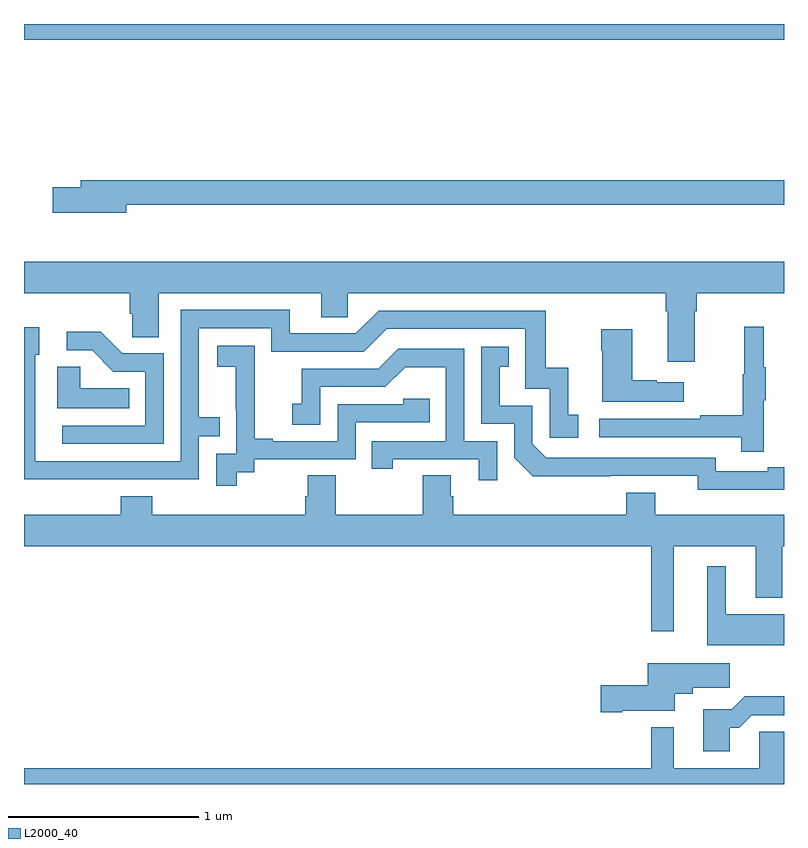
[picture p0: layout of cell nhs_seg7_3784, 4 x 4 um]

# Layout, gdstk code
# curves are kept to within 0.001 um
import gdstk
lib = gdstk.Library(unit=1e-6, precision=1e-09)
def R(c, l, rs):  # rectangles x0, y0, x1, y1
    for r in rs: c.add(gdstk.rectangle(r[:2], r[2:], *l))
def P(c, l, *ps):  # polygons
    for p in ps: c.add(gdstk.Polygon(p, *l))
L2000_40 = (2000, 40)

nhs_seg7_3784 = lib.new_cell('nhs_seg7_3784')
R(nhs_seg7_3784, L2000_40, [(351,1033.916,355,1034)])
P(nhs_seg7_3784, L2000_40, [(351.538,1033.05),(355,1033.05),(355,1033.178),(351.299,1033.178),(351.299,1033.142),(351.15,1033.142),(351.15,1033.007),(351.538,1033.007)],
  [(354.529,1032.488),(354.542,1032.488),(354.542,1032.584),(355,1032.584),(355,1032.748),(351,1032.748),(351,1032.584),(351.557,1032.584),(351.557,1032.475),(351.57,1032.475),(351.57,1032.352),(351.709,1032.352),(351.709,1032.584),(352.565,1032.584),(352.565,1032.457),(352.704,1032.457),(352.704,1032.584),(354.377,1032.584),(354.377,1032.488),(354.389,1032.488),(354.389,1032.222),(354.529,1032.222)],
  [(351.425,1031.604),(351.921,1031.604),(351.921,1031.829),(352.031,1031.829),(352.031,1031.93),(351.921,1031.93),(351.921,1032.399),(352.302,1032.399),(352.302,1032.276),(352.788,1032.276),(352.908,1032.396),(353.637,1032.396),(353.637,1032.081),(353.766,1032.081),(353.766,1031.823),(353.917,1031.823),(353.917,1031.943),(353.864,1031.943),(353.864,1032.19),(353.746,1032.19),(353.746,1032.492),(352.866,1032.492),(352.746,1032.372),(352.399,1032.372),(352.399,1032.495),(351.825,1032.495),(351.825,1031.7),(351.06,1031.7),(351.06,1032.258),(351.079,1032.258),(351.079,1032.403),(351,1032.403),(351,1031.603)],
  [(354.893,1032.019),(354.904,1032.019),(354.904,1032.193),(354.893,1032.193),(354.893,1032.406),(354.79,1032.406),(354.79,1032.156),(354.783,1032.156),(354.783,1031.942),(354.559,1031.942),(354.559,1031.922),(354.027,1031.922),(354.027,1031.826),(354.775,1031.826),(354.775,1031.748),(354.893,1031.748)],
  [(354.472,1032.115),(354.329,1032.115),(354.329,1032.125),(354.202,1032.125),(354.202,1032.394),(354.037,1032.394),(354.037,1032.281),(354.044,1032.281),(354.044,1032.011),(354.472,1032.011)],
  [(351.735,1032.267),(351.516,1032.267),(351.403,1032.38),(351.225,1032.38),(351.225,1032.282),(351.359,1032.282),(351.47,1032.171),(351.639,1032.171),(351.639,1031.886),(351.201,1031.886),(351.201,1031.79),(351.735,1031.79)],
  [(352.12,1031.641),(352.212,1031.641),(352.212,1031.709),(352.746,1031.709),(352.746,1031.904),(353.135,1031.904),(353.135,1032.027),(352.995,1032.027),(352.995,1032),(352.65,1032),(352.65,1031.805),(352.309,1031.805),(352.309,1031.818),(352.214,1031.818),(352.214,1032.101),(352.215,1032.101),(352.215,1032.307),(352.017,1032.307),(352.017,1032.197),(352.115,1032.197),(352.115,1031.969),(352.116,1031.969),(352.116,1031.739),(352.011,1031.739),(352.011,1031.571),(352.12,1031.571)],
  [(354.914,1031.55),(355,1031.55),(355,1031.666),(354.914,1031.666),(354.914,1031.646),(354.642,1031.646),(354.642,1031.718),(353.748,1031.718),(353.676,1031.79),(353.676,1031.991),(353.503,1031.991),(353.503,1032.195),(353.552,1032.195),(353.552,1032.301),(353.406,1032.301),(353.406,1031.895),(353.58,1031.895),(353.58,1031.718),(353.678,1031.621),(354.546,1031.622),(354.546,1031.549)],
  [(353.49,1031.805),(353.316,1031.805),(353.316,1032.291),(352.97,1032.291),(352.865,1032.186),(352.462,1032.186),(352.462,1032.001),(352.413,1032.001),(352.413,1031.892),(352.56,1031.892),(352.56,1032.09),(352.902,1032.09),(353.006,1032.194),(353.22,1032.194),(353.22,1031.805),(352.831,1031.805),(352.831,1031.658),(352.942,1031.658),(352.942,1031.709),(353.393,1031.709),(353.393,1031.598),(353.49,1031.598)],
  [(351.554,1032.082),(351.297,1032.082),(351.297,1032.197),(351.176,1032.197),(351.176,1031.978),(351.554,1031.978)],
  [(354.421,1031.252),(354.851,1031.252),(354.851,1030.979),(354.991,1030.979),(354.991,1031.252),(355,1031.252),(355,1031.416),(354.322,1031.416),(354.322,1031.533),(354.17,1031.533),(354.17,1031.416),(353.258,1031.416),(353.258,1031.514),(353.245,1031.514),(353.245,1031.624),(353.098,1031.624),(353.098,1031.416),(352.641,1031.416),(352.641,1031.624),(352.493,1031.624),(352.493,1031.514),(352.481,1031.514),(352.481,1031.416),(351.674,1031.416),(351.674,1031.515),(351.509,1031.515),(351.509,1031.416),(351,1031.416),(351,1031.252),(354.3,1031.252),(354.3,1030.803),(354.421,1030.803)],
  [(355,1030.894),(354.694,1030.894),(354.694,1031.146),(354.596,1031.146),(354.596,1030.73),(355,1030.73)],
  [(354.148,1030.385),(354.424,1030.385),(354.424,1030.475),(354.52,1030.475),(354.52,1030.507),(354.715,1030.507),(354.715,1030.636),(354.284,1030.636),(354.284,1030.52),(354.036,1030.52),(354.036,1030.378),(354.148,1030.378)],
  [(354.715,1030.295),(354.764,1030.295),(354.831,1030.362),(355,1030.362),(355,1030.463),(354.794,1030.463),(354.724,1030.393),(354.575,1030.393),(354.575,1030.173),(354.715,1030.173)],
  [(355,1030.274),(354.87,1030.274),(354.87,1030.084),(354.421,1030.084),(354.421,1030.3),(354.3,1030.3),(354.3,1030.084),(351,1030.084),(351,1030),(355,1030)])

lib.write_gds('nhs_seg7_3784.gds')
